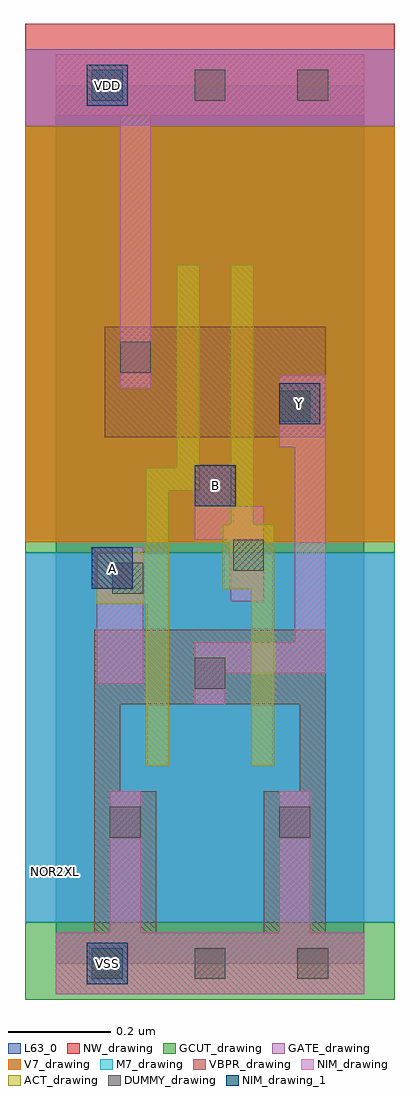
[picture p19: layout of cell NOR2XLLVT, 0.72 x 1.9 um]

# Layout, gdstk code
import gdstk
lib = gdstk.Library(unit=1e-6, precision=5e-10)
def R(c, l, rs):  # rectangles x0, y0, x1, y1
    for r in rs: c.add(gdstk.rectangle(r[:2], r[2:], *l))
def A(c, l, x, y, w, h, nx, ny, dx, dy):  # array of equal rectangles
    R(c, l, [(x+i*dx, y+j*dy, x+i*dx+w, y+j*dy+h) for i in range(nx) for j in range(ny)])
def P(c, l, *ps):  # polygons
    for p in ps: c.add(gdstk.Polygon(p, *l))
VBPR_drawing = (1, 0)
NW_drawing = (2, 0)
ACT_drawing = (3, 0)
GATE_drawing = (4, 0)
GCUT_drawing = (5, 0)
DUMMY_drawing = (6, 0)
NIM_drawing = (7, 0)
NIM_drawing_1 = (7, 1)
M7_drawing = (26, 0)
V7_drawing = (27, 0)
L63_0 = (63, 0)

nor2xllvt = lib.new_cell('NOR2XLLVT')
R(nor2xllvt, VBPR_drawing, [(0,-0.06,0.6,0.06), (0.095,1.025,0.525,1.24), (0,1.65,0.6,1.77)])
P(nor2xllvt, VBPR_drawing, [(0.525,0.65),(0.075,0.65),(0.075,0.06),(0.195,0.06),(0.195,0.335),(0.125,0.335),(0.125,0.505),(0.475,0.505),(0.475,0.335),(0.405,0.335),(0.405,0.06),(0.525,0.06)])
R(nor2xllvt, NW_drawing, [(-0.06,0.82,0.66,1.83)])
P(nor2xllvt, ACT_drawing, [(0.235,1.36),(0.28,1.36),(0.28,0.92),(0.22,0.92),(0.22,0.385),(0.175,0.385),(0.175,0.7),(0.08,0.7),(0.08,0.8),(0.175,0.8),(0.175,0.965),(0.235,0.965)],
  [(0.34,1.36),(0.385,1.36),(0.385,0.855),(0.425,0.855),(0.425,0.385),(0.38,0.385),(0.38,0.73),(0.325,0.73),(0.325,0.855),(0.34,0.855)])
R(nor2xllvt, GATE_drawing, [(-0.06,0.08,0.66,0.8), (-0.06,1.63,0.66,1.78)])
R(nor2xllvt, GCUT_drawing, [(-0.06,-0.07,0.66,0.08), (-0.06,0.8,0.66,1.63)])
A(nor2xllvt, DUMMY_drawing, 0.07, -0.03, 0.06, 0.06, 3, 2, 0.2, 1.71)
R(nor2xllvt, DUMMY_drawing, [(0.105,0.245,0.165,0.305), (0.435,0.245,0.495,0.305), (0.27,0.535,0.33,0.595), (0.11,0.72,0.17,0.78), (0.345,0.765,0.405,0.825), (0.435,1.055,0.495,1.115), (0.125,1.15,0.185,1.21)])
R(nor2xllvt, NIM_drawing, [(0.105,0.06,0.165,0.335), (0.435,0.06,0.495,0.335), (0.125,1.12,0.185,1.65)])
P(nor2xllvt, NIM_drawing, [(0.435,1.145),(0.525,1.145),(0.525,0.565),(0.33,0.565),(0.33,0.505),(0.27,0.505),(0.27,0.625),(0.465,0.625),(0.465,1.005),(0.435,1.005)],
  [(0.405,0.89),(0.35,0.89),(0.35,0.97),(0.27,0.97),(0.27,0.825),(0.34,0.825),(0.34,0.705),(0.405,0.705)],
  [(0.17,0.81),(0.07,0.81),(0.07,0.73),(0.08,0.73),(0.08,0.545),(0.17,0.545)])
R(nor2xllvt, NIM_drawing_1, [(0.06,-0.04,0.14,0.04), (0.07,0.73,0.15,0.81), (0.27,0.89,0.35,0.97), (0.435,1.05,0.515,1.13), (0.06,1.67,0.14,1.75)])
R(nor2xllvt, M7_drawing, [(-0.06,0.08,0.66,0.8)])
R(nor2xllvt, V7_drawing, [(-0.06,0.82,0.66,1.63)])
R(nor2xllvt, L63_0, [(0,0,0.6,1.71)])
nor2xllvt.add(gdstk.FlexPath([(0,0),(0.6,0)], 0.12, ends="flush", simple_path=True, layer=7, datatype=0))  # NIM_drawing
nor2xllvt.add(gdstk.FlexPath([(0,1.71),(0.6,1.71)], 0.12, ends="flush", simple_path=True, layer=7, datatype=0))  # NIM_drawing
nor2xllvt.add(gdstk.Label('VSS', (0.1,0), layer=7, texttype=1))
nor2xllvt.add(gdstk.Label('VSS', (0.1,0), layer=7, texttype=1))
nor2xllvt.add(gdstk.Label('A', (0.11,0.77), layer=7, texttype=1))
nor2xllvt.add(gdstk.Label('Y', (0.475,1.09), layer=7, texttype=1))
nor2xllvt.add(gdstk.Label('B', (0.31,0.93), layer=7, texttype=1))
nor2xllvt.add(gdstk.Label('VDD', (0.1,1.71), layer=7, texttype=1))
nor2xllvt.add(gdstk.Label('VDD', (0.1,1.71), layer=7, texttype=1))
nor2xllvt.add(gdstk.Label('B', (0.31,0.93), layer=7, texttype=1))
nor2xllvt.add(gdstk.Label('A', (0.11,0.77), layer=7, texttype=1))
nor2xllvt.add(gdstk.Label('Y', (0.475,1.09), layer=7, texttype=1))
nor2xllvt.add(gdstk.Label('NOR2XL', (0,0.18), layer=63, texttype=0))

lib.write_gds('NOR2XLLVT.gds')
